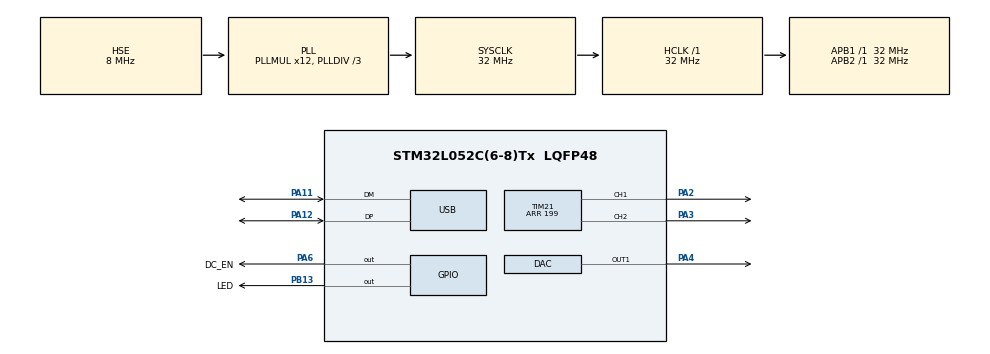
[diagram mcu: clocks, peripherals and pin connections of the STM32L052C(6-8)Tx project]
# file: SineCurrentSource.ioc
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DAC.DAC_Trigger=DAC_TRIGGER_T2_TRGO
Dma.DAC_CH1.0.Direction=DMA_MEMORY_TO_PERIPH
Dma.DAC_CH1.0.Instance=DMA1_Channel2
Dma.DAC_CH1.0.MemDataAlignment=DMA_MDATAALIGN_HALFWORD
Dma.DAC_CH1.0.MemInc=DMA_MINC_ENABLE
Dma.DAC_CH1.0.Mode=DMA_CIRCULAR
Dma.DAC_CH1.0.PeriphDataAlignment=DMA_PDATAALIGN_HALFWORD
Dma.DAC_CH1.0.PeriphInc=DMA_PINC_DISABLE
Dma.DAC_CH1.0.Priority=DMA_PRIORITY_LOW
Dma.Request0=DAC_CH1
Mcu.Family=STM32L0
Mcu.Name=STM32L052C(6-8)Tx
Mcu.Package=LQFP48
NVIC.DMA1_Channel2_3_IRQn=true\:0\:0\:false\:false\:true\:false\:true
NVIC.TIM21_IRQn=true\:0\:0\:false\:false\:true\:true\:true
NVIC.USB_IRQn=true\:0\:0\:false\:false\:true\:false\:true
PA11.Mode=Device
PA11.Signal=USB_DM
PA12.Mode=Device
PA12.Signal=USB_DP
PA13.Mode=Serial_Wire
PA13.Signal=SYS_SWDIO
PA14.Mode=Serial_Wire
PA14.Signal=SYS_SWCLK
PA2.Signal=S_TIM21_CH1
PA3.Signal=S_TIM21_CH2
PA4.Signal=COMP_DAC1_group
PA6.GPIO_Label=DC_EN
PA6.Signal=GPIO_Output
PB13.GPIO_Label=LED
PB13.Signal=GPIO_Output
PH0-OSC_IN.Mode=HSE-External-Clock-Source
PH0-OSC_IN.Signal=RCC_OSC_IN
ProjectManager.HeapSize=0x200
ProjectManager.StackSize=0x400
ProjectManager.TargetToolchain=STM32CubeIDE
RCC.AHBFreq_Value=32000000
RCC.APB1Freq_Value=32000000
RCC.APB1TimFreq_Value=32000000
RCC.APB2Freq_Value=32000000
RCC.APB2TimFreq_Value=32000000
RCC.HCLKFreq_Value=32000000
RCC.HSE_VALUE=8000000
RCC.HSI16_VALUE=16000000
RCC.HSI48_VALUE=48000000
RCC.HSI_VALUE=16000000
RCC.LSE_VALUE=32768
RCC.MSI_VALUE=2097000
RCC.PLLDIV=RCC_PLLDIV_3
RCC.PLLMUL=RCC_PLLMUL_12
RCC.SYSCLKFreq_VALUE=32000000
RCC.SYSCLKSource=RCC_SYSCLKSOURCE_PLLCLK
RCC.VCOOutputFreq_Value=96000000
SH.COMP_DAC1_group.0=DAC_OUT1,DAC_OUT1
SH.S_TIM21_CH1.0=TIM21_CH1,Output Compare1 CH1
SH.S_TIM21_CH2.0=TIM21_CH2,Output Compare2 CH2
TIM2.AutoReloadPreload=TIM_AUTORELOAD_PRELOAD_ENABLE
TIM2.Period=99
TIM2.Prescaler=31
TIM2.TIM_MasterOutputTrigger=TIM_TRGO_UPDATE
TIM21.AutoReloadPreload=TIM_AUTORELOAD_PRELOAD_ENABLE
TIM21.Channel-Output\ Compare1\ CH1=TIM_CHANNEL_1
TIM21.Channel-Output\ Compare2\ CH2=TIM_CHANNEL_2
TIM21.OCMode_1=TIM_OCMODE_ACTIVE
TIM21.OCMode_2=TIM_OCMODE_ACTIVE
TIM21.OCPolarity_2=TIM_OCPOLARITY_HIGH
TIM21.Period=199
TIM21.Pulse-Output\ Compare1\ CH1=2
TIM21.Pulse-Output\ Compare2\ CH2=102
USB_DEVICE.CLASS_NAME_FS=CUSTOM_HID
USB_DEVICE.PID_CUSTOMHID_FS=22354
USB_DEVICE.USBD_CUSTOMHID_OUTREPORT_BUF_SIZE=4
USB_DEVICE.USBD_CUSTOM_HID_REPORT_DESC_SIZE=68
USB_DEVICE.VirtualMode=CustomHid
USB_DEVICE.VirtualModeFS=Custom_Hid_FS
VP_TIM21_VS_ClockSourceITR.Mode=TriggerSource_ITR0
VP_TIM21_VS_ControllerModeClock.Mode=Clock Mode
VP_TIM2_VS_ClockSourceINT.Mode=Internal
VP_USB_DEVICE_VS_USB_DEVICE_CUSTOM_HID_FS.Mode=CUSTOM_HID_FS
board=custom

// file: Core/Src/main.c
/* USER CODE BEGIN Header */
/**
  ******************************************************************************
  * @file           : main.c
  * @brief          : Main program body
  ******************************************************************************
  * @attention
  *
  * <h2><center>&copy; Copyright (c) 2022 STMicroelectronics.
  * All rights reserved.</center></h2>
  *
  * This software component is licensed by ST under Ultimate Liberty license
  * SLA0044, the "License"; You may not use this file except in compliance with
  * the License. You may obtain a copy of the License at:
  *                             www.st.com/SLA0044
  *
  ******************************************************************************
  */
/* USER CODE END Header */
#include "main.h"
#include "usb_device.h"

/* USER CODE BEGIN Includes */
#include "sine_cs.h"
/* USER CODE END Includes */

DAC_HandleTypeDef hdac;
DMA_HandleTypeDef hdma_dac_ch1;

TIM_HandleTypeDef htim2;
TIM_HandleTypeDef htim21;

/* USER CODE BEGIN PV */
extern uint16_t sineHalfPeriod[SINE_SAMPLES_NUM];

/* USER CODE END PV */

void SystemClock_Config(void);
static void MX_GPIO_Init(void);
static void MX_DAC_Init(void);
static void MX_TIM2_Init(void);
static void MX_TIM21_Init(void);
static void MX_DMA_Init(void);

int main(void)
{

  /* MCU Configuration--------------------------------------------------------*/

  /* Reset of all peripherals, Initializes the Flash interface and the Systick. */
  HAL_Init();

  /* Configure the system clock */
  SystemClock_Config();

  /* Initialize all configured peripherals */
  MX_GPIO_Init();
  MX_DMA_Init();
  MX_DAC_Init();
  MX_TIM2_Init();
  MX_TIM21_Init();
  MX_USB_DEVICE_Init();
  /* USER CODE BEGIN 2 */
  // init sine CS driver
  sineCS_drv->Init();
  // init DAC DMA
  HAL_DAC_Start_DMA(&hdac, DAC_CHANNEL_1, (uint32_t*)sineHalfPeriod, SINE_SAMPLES_NUM, DAC_ALIGN_12B_R);
  // start timers
  HAL_TIM_Base_Start(&htim2); // DAC conversion timer, master
  HAL_TIM_OC_Start_IT(&htim21, TIM_CHANNEL_1);
  HAL_TIM_OC_Start_IT(&htim21, TIM_CHANNEL_2);
  /* USER CODE END 2 */

  /* Infinite loop */
  while (1)
  {

  }
}

void SystemClock_Config(void)
{
  RCC_OscInitTypeDef RCC_OscInitStruct = {0};
  RCC_ClkInitTypeDef RCC_ClkInitStruct = {0};
  RCC_PeriphCLKInitTypeDef PeriphClkInit = {0};

  /** Configure the main internal regulator output voltage
  */
  __HAL_PWR_VOLTAGESCALING_CONFIG(PWR_REGULATOR_VOLTAGE_SCALE1);
  /** Initializes the RCC Oscillators according to the specified parameters
  * in the RCC_OscInitTypeDef structure.
  */
  RCC_OscInitStruct.OscillatorType = RCC_OSCILLATORTYPE_HSE;
  RCC_OscInitStruct.HSEState = RCC_HSE_BYPASS;
  RCC_OscInitStruct.PLL.PLLState = RCC_PLL_ON;
  RCC_OscInitStruct.PLL.PLLSource = RCC_PLLSOURCE_HSE;
  RCC_OscInitStruct.PLL.PLLMUL = RCC_PLLMUL_12;
  RCC_OscInitStruct.PLL.PLLDIV = RCC_PLLDIV_3;
  if (HAL_RCC_OscConfig(&RCC_OscInitStruct) != HAL_OK)
  {
    Error_Handler();
  }
  /** Initializes the CPU, AHB and APB buses clocks
  */
  RCC_ClkInitStruct.ClockType = RCC_CLOCKTYPE_HCLK|RCC_CLOCKTYPE_SYSCLK
                              |RCC_CLOCKTYPE_PCLK1|RCC_CLOCKTYPE_PCLK2;
  RCC_ClkInitStruct.SYSCLKSource = RCC_SYSCLKSOURCE_PLLCLK;
  RCC_ClkInitStruct.AHBCLKDivider = RCC_SYSCLK_DIV1;
  RCC_ClkInitStruct.APB1CLKDivider = RCC_HCLK_DIV1;
  RCC_ClkInitStruct.APB2CLKDivider = RCC_HCLK_DIV1;

  if (HAL_RCC_ClockConfig(&RCC_ClkInitStruct, FLASH_LATENCY_1) != HAL_OK)
  {
    Error_Handler();
  }
  PeriphClkInit.PeriphClockSelection = RCC_PERIPHCLK_USB;
  PeriphClkInit.UsbClockSelection = RCC_USBCLKSOURCE_PLL;
  if (HAL_RCCEx_PeriphCLKConfig(&PeriphClkInit) != HAL_OK)
  {
    Error_Handler();
  }
}

static void MX_DAC_Init(void)
{

  DAC_ChannelConfTypeDef sConfig = {0};

  /** DAC Initialization
  */
  hdac.Instance = DAC;
  if (HAL_DAC_Init(&hdac) != HAL_OK)
  {
    Error_Handler();
  }
  /** DAC channel OUT1 config
  */
  sConfig.DAC_Trigger = DAC_TRIGGER_T2_TRGO;
  sConfig.DAC_OutputBuffer = DAC_OUTPUTBUFFER_ENABLE;
  if (HAL_DAC_ConfigChannel(&hdac, &sConfig, DAC_CHANNEL_1) != HAL_OK)
  {
    Error_Handler();
  }

}

static void MX_TIM2_Init(void)
{

  TIM_ClockConfigTypeDef sClockSourceConfig = {0};
  TIM_MasterConfigTypeDef sMasterConfig = {0};

  htim2.Instance = TIM2;
  htim2.Init.Prescaler = 31;
  htim2.Init.CounterMode = TIM_COUNTERMODE_UP;
  htim2.Init.Period = 19;
  htim2.Init.ClockDivision = TIM_CLOCKDIVISION_DIV1;
  htim2.Init.AutoReloadPreload = TIM_AUTORELOAD_PRELOAD_ENABLE;
  if (HAL_TIM_Base_Init(&htim2) != HAL_OK)
  {
    Error_Handler();
  }
  sClockSourceConfig.ClockSource = TIM_CLOCKSOURCE_INTERNAL;
  if (HAL_TIM_ConfigClockSource(&htim2, &sClockSourceConfig) != HAL_OK)
  {
    Error_Handler();
  }
  sMasterConfig.MasterOutputTrigger = TIM_TRGO_UPDATE;
  sMasterConfig.MasterSlaveMode = TIM_MASTERSLAVEMODE_DISABLE;
  if (HAL_TIMEx_MasterConfigSynchronization(&htim2, &sMasterConfig) != HAL_OK)
  {
    Error_Handler();
  }

}

static void MX_TIM21_Init(void)
{

  TIM_SlaveConfigTypeDef sSlaveConfig = {0};
  TIM_MasterConfigTypeDef sMasterConfig = {0};
  TIM_OC_InitTypeDef sConfigOC = {0};

  htim21.Instance = TIM21;
  htim21.Init.Prescaler = 0;
  htim21.Init.CounterMode = TIM_COUNTERMODE_UP;
  htim21.Init.Period = 999;
  htim21.Init.ClockDivision = TIM_CLOCKDIVISION_DIV1;
  htim21.Init.AutoReloadPreload = TIM_AUTORELOAD_PRELOAD_ENABLE;
  if (HAL_TIM_Base_Init(&htim21) != HAL_OK)
  {
    Error_Handler();
  }
  if (HAL_TIM_OC_Init(&htim21) != HAL_OK)
  {
    Error_Handler();
  }
  sSlaveConfig.SlaveMode = TIM_SLAVEMODE_EXTERNAL1;
  sSlaveConfig.InputTrigger = TIM_TS_ITR0;
  if (HAL_TIM_SlaveConfigSynchro(&htim21, &sSlaveConfig) != HAL_OK)
  {
    Error_Handler();
  }
  sMasterConfig.MasterOutputTrigger = TIM_TRGO_RESET;
  sMasterConfig.MasterSlaveMode = TIM_MASTERSLAVEMODE_DISABLE;
  if (HAL_TIMEx_MasterConfigSynchronization(&htim21, &sMasterConfig) != HAL_OK)
  {
    Error_Handler();
  }
  sConfigOC.OCMode = TIM_OCMODE_ACTIVE;
  sConfigOC.Pulse = 2;
  sConfigOC.OCPolarity = TIM_OCPOLARITY_HIGH;
  sConfigOC.OCFastMode = TIM_OCFAST_DISABLE;
  if (HAL_TIM_OC_ConfigChannel(&htim21, &sConfigOC, TIM_CHANNEL_1) != HAL_OK)
  {
    Error_Handler();
  }
  sConfigOC.Pulse = 502;
  if (HAL_TIM_OC_ConfigChannel(&htim21, &sConfigOC, TIM_CHANNEL_2) != HAL_OK)
  {
    Error_Handler();
  }
  HAL_TIM_MspPostInit(&htim21);

}

static void MX_DMA_Init(void)
{

  /* DMA controller clock enable */
  __HAL_RCC_DMA1_CLK_ENABLE();

  /* DMA interrupt init */
  /* DMA1_Channel2_3_IRQn interrupt configuration */
  HAL_NVIC_SetPriority(DMA1_Channel2_3_IRQn, 0, 0);
  HAL_NVIC_EnableIRQ(DMA1_Channel2_3_IRQn);

}

static void MX_GPIO_Init(void)
{
  GPIO_InitTypeDef GPIO_InitStruct = {0};

  /* GPIO Ports Clock Enable */
  __HAL_RCC_GPIOH_CLK_ENABLE();
  __HAL_RCC_GPIOA_CLK_ENABLE();
  __HAL_RCC_GPIOB_CLK_ENABLE();

  /*Configure GPIO pin Output Level */
  HAL_GPIO_WritePin(DC_EN_GPIO_Port, DC_EN_Pin, GPIO_PIN_RESET);

  /*Configure GPIO pin Output Level */
  HAL_GPIO_WritePin(LED_GPIO_Port, LED_Pin, GPIO_PIN_RESET);

  /*Configure GPIO pin : DC_EN_Pin */
  GPIO_InitStruct.Pin = DC_EN_Pin;
  GPIO_InitStruct.Mode = GPIO_MODE_OUTPUT_PP;
  GPIO_InitStruct.Pull = GPIO_NOPULL;
  GPIO_InitStruct.Speed = GPIO_SPEED_FREQ_LOW;
  HAL_GPIO_Init(DC_EN_GPIO_Port, &GPIO_InitStruct);

  /*Configure GPIO pin : LED_Pin */
  GPIO_InitStruct.Pin = LED_Pin;
  GPIO_InitStruct.Mode = GPIO_MODE_OUTPUT_PP;
  GPIO_InitStruct.Pull = GPIO_NOPULL;
  GPIO_InitStruct.Speed = GPIO_SPEED_FREQ_LOW;
  HAL_GPIO_Init(LED_GPIO_Port, &GPIO_InitStruct);

}

/* USER CODE BEGIN 4 */
/**
  * @brief  Realize dead-time function with general-purpose timer
  * @param  htim: active timer handle
  * @retval None
  */
void HAL_TIM_OC_DelayElapsedCallback(TIM_HandleTypeDef *htim)
{
	if(htim->Channel == HAL_TIM_ACTIVE_CHANNEL_1)
	{
		if(htim->Instance->CCR1 == 501)
		{
			htim->Instance->CCR1 = 2;
		}
		else if(htim->Instance->CCR1 == 2)
		{
			htim->Instance->CCR1 = 501;
		}
		htim->Instance->CCMR1 ^= (TIM_CCMR1_OC1M_1 | TIM_CCMR1_OC1M_0);
	}
	if(htim->Channel == HAL_TIM_ACTIVE_CHANNEL_2)
	{
		if(htim->Instance->CCR2 == 502)
		{
			htim->Instance->CCR2 = 1;
		}
		else if(htim->Instance->CCR2 == 1)
		{
			htim->Instance->CCR2 = 502;
		}
		htim->Instance->CCMR1 ^= (TIM_CCMR1_OC2M_1 | TIM_CCMR1_OC2M_0);
	}
}
/* USER CODE END 4 */

void Error_Handler(void)
{
  __disable_irq();
  while (1)
  {
  }
}
